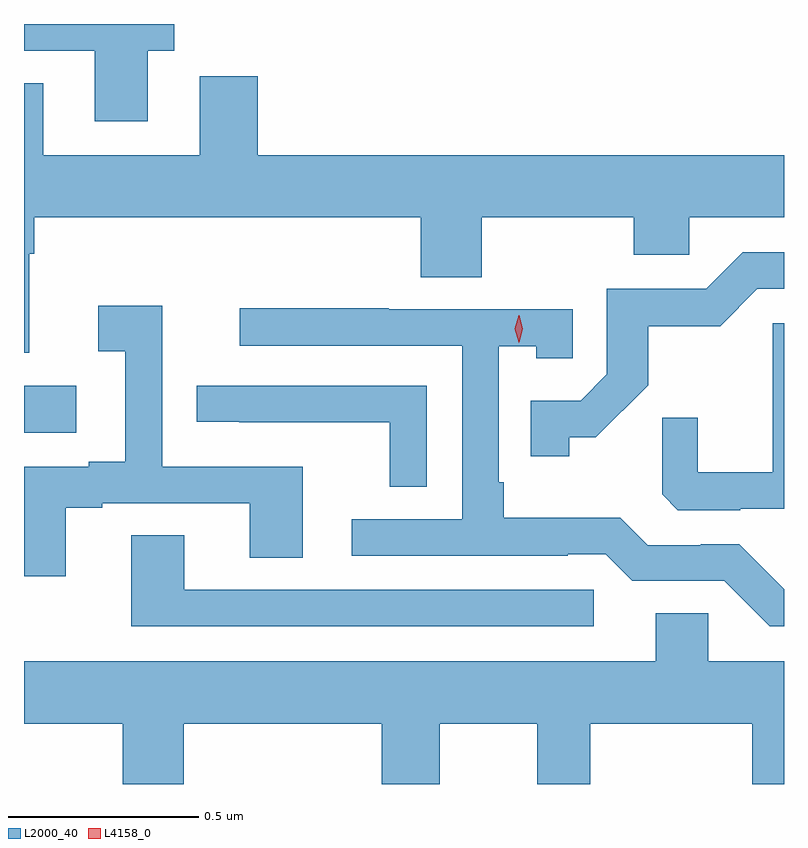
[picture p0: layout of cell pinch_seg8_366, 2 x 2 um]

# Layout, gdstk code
import gdstk
lib = gdstk.Library(unit=1e-6, precision=1e-09)
def R(c, l, rs):  # rectangles x0, y0, x1, y1
    for r in rs: c.add(gdstk.rectangle(r[:2], r[2:], *l))
def P(c, l, *ps):  # polygons
    for p in ps: c.add(gdstk.Polygon(p, *l))
L2000_40 = (2000, 40)
L4158_0 = (4158, 0)

pinch_seg8_366 = lib.new_cell('pinch_seg8_366')
R(pinch_seg8_366, L2000_40, [(423.275,1122.593,423.412,1122.717)])
P(pinch_seg8_366, L2000_40, [(423.601,1123.598),(423.67,1123.598),(423.67,1123.669),(423.275,1123.669),(423.275,1123.598),(423.461,1123.598),(423.461,1123.413),(423.601,1123.413)],
  [(423.289,1123.064),(423.302,1123.064),(423.302,1123.16),(424.319,1123.16),(424.319,1123.003),(424.479,1123.003),(424.479,1123.16),(424.879,1123.16),(424.879,1123.062),(425.025,1123.062),(425.025,1123.16),(425.275,1123.16),(425.275,1123.324),(423.89,1123.324),(423.89,1123.531),(423.737,1123.531),(423.737,1123.324),(423.325,1123.324),(423.325,1123.513),(423.275,1123.513),(423.275,1122.804),(423.289,1122.804)],
  [(424.71,1122.581),(424.78,1122.581),(424.918,1122.718),(424.918,1122.874),(425.107,1122.874),(425.205,1122.972),(425.275,1122.972),(425.275,1123.068),(425.166,1123.068),(425.07,1122.972),(424.809,1122.972),(424.809,1122.747),(424.74,1122.678),(424.609,1122.678),(424.609,1122.531),(424.71,1122.531)],
  [(423.385,1122.396),(423.481,1122.396),(423.481,1122.408),(423.869,1122.408),(423.869,1122.265),(424.009,1122.265),(424.009,1122.504),(423.639,1122.504),(423.639,1122.928),(423.471,1122.928),(423.471,1122.808),(423.542,1122.808),(423.542,1122.517),(423.446,1122.517),(423.446,1122.504),(423.275,1122.504),(423.275,1122.216),(423.385,1122.216)],
  [(425.275,1122.182),(425.157,1122.3),(425.056,1122.3),(425.056,1122.297),(424.917,1122.297),(424.844,1122.37),(424.537,1122.37),(424.537,1122.463),(424.524,1122.463),(424.524,1122.821),(424.623,1122.821),(424.623,1122.789),(424.719,1122.789),(424.719,1122.918),(424.235,1122.918),(424.235,1122.921),(423.843,1122.921),(423.843,1122.822),(424.428,1122.822),(424.428,1122.366),(424.137,1122.366),(424.137,1122.27),(424.706,1122.27),(424.706,1122.273),(424.806,1122.273),(424.875,1122.204),(425.118,1122.204),(425.238,1122.084),(425.275,1122.084)],
  [(425.16,1122.393),(425.275,1122.393),(425.275,1122.882),(425.246,1122.882),(425.246,1122.49),(425.048,1122.49),(425.048,1122.633),(424.954,1122.633),(424.954,1122.431),(424.995,1122.39),(425.16,1122.39)],
  [(424.335,1122.717),(423.729,1122.717),(423.729,1122.622),(423.841,1122.622),(423.841,1122.621),(424.237,1122.621),(424.237,1122.451),(424.335,1122.451)],
  [(424.774,1122.18),(423.697,1122.18),(423.697,1122.323),(423.557,1122.323),(423.557,1122.084),(424.774,1122.084)],
  [(423.695,1121.828),(424.217,1121.828),(424.217,1121.669),(424.369,1121.669),(424.369,1121.828),(424.625,1121.828),(424.625,1121.669),(424.765,1121.669),(424.765,1121.828),(425.192,1121.828),(425.192,1121.669),(425.275,1121.669),(425.275,1121.992),(425.076,1121.992),(425.076,1122.119),(424.937,1122.119),(424.937,1121.992),(423.275,1121.992),(423.275,1121.828),(423.535,1121.828),(423.535,1121.669),(423.695,1121.669)])
P(pinch_seg8_366, L4158_0, [(424.577,1122.83),(424.577,1122.831),(424.567,1122.867),(424.577,1122.903),(424.577,1122.903),(424.578,1122.903),(424.587,1122.867),(424.578,1122.831)])

lib.write_gds('pinch_seg8_366.gds')
